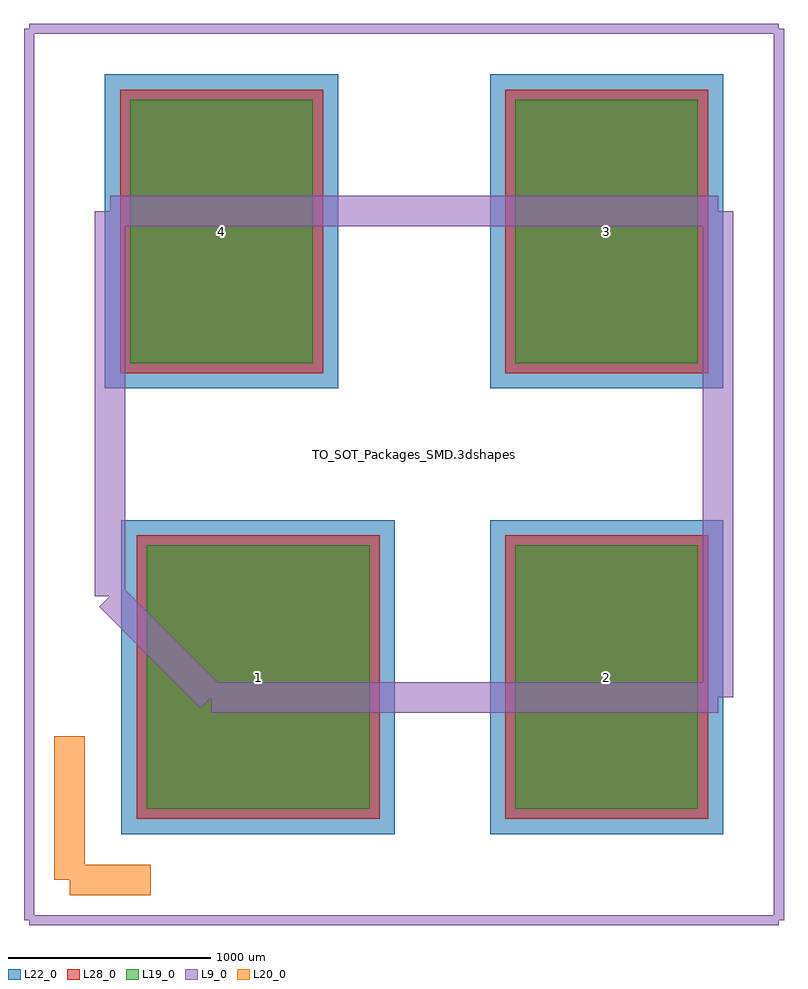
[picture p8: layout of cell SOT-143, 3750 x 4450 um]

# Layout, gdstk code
import gdstk
lib = gdstk.Library(unit=1e-6, precision=1e-09)
def R(c, l, rs):  # rectangles x0, y0, x1, y1
    for r in rs: c.add(gdstk.rectangle(r[:2], r[2:], *l))
L9_0 = (9, 0)
L19_0 = (19, 0)
L20_0 = (20, 0)
L22_0 = (22, 0)
L28_0 = (28, 0)

sot_143 = lib.new_cell('SOT-143')
R(sot_143, L19_0, [(-1319.06,-1749.59,-220.18,-450.05), (499.58,-1749.59,1400.34,-450.05), (-1400.34,450.05,-499.58,1749.59), (499.58,450.05,1400.34,1749.59)])
R(sot_143, L22_0, [(-1444.06,-1874.59,-95.18,-325.05), (374.58,-1874.59,1525.34,-325.05), (-1525.34,325.05,-374.58,1874.59), (374.58,325.05,1525.34,1874.59)])
R(sot_143, L28_0, [(-1369.06,-1799.59,-170.18,-400.05), (449.58,-1799.59,1450.34,-400.05), (-1450.34,400.05,-449.58,1799.59), (449.58,400.05,1450.34,1799.59)])
sot_143.add(gdstk.FlexPath([(-1700,-2100),(-1298.68,-2100)], 149.998, ends="flush", simple_path=True, layer=20, datatype=0))  # L20_0
sot_143.add(gdstk.FlexPath([(-1700,-1391.34),(-1700,-2100)], 149.998, ends="flush", simple_path=True, layer=20, datatype=0))  # L20_0
sot_143.add(gdstk.FlexPath([(-1900,-2300),(1800,-2300)], 50, ends="flush", simple_path=True, layer=9, datatype=0))  # L9_0
sot_143.add(gdstk.FlexPath([(1800,-2300),(1800,2100)], 50, ends="flush", simple_path=True, layer=9, datatype=0))  # L9_0
sot_143.add(gdstk.FlexPath([(1800,2100),(-1900,2100)], 50, ends="flush", simple_path=True, layer=9, datatype=0))  # L9_0
sot_143.add(gdstk.FlexPath([(-1900,2100),(-1900,-2300)], 50, ends="flush", simple_path=True, layer=9, datatype=0))  # L9_0
sot_143.add(gdstk.FlexPath([(-1500,1200),(1500,1200)], 149.998, ends="flush", simple_path=True, layer=9, datatype=0))  # L9_0
sot_143.add(gdstk.FlexPath([(1500,1200),(1500,-1200)], 149.998, ends="flush", simple_path=True, layer=9, datatype=0))  # L9_0
sot_143.add(gdstk.FlexPath([(1500,-1200),(-1000,-1200)], 149.998, ends="flush", simple_path=True, layer=9, datatype=0))  # L9_0
sot_143.add(gdstk.FlexPath([(-1500,-700),(-1500,1200)], 149.998, ends="flush", simple_path=True, layer=9, datatype=0))  # L9_0
sot_143.add(gdstk.FlexPath([(-1000,-1200),(-1500,-700)], 149.998, ends="flush", simple_path=True, layer=9, datatype=0))  # L9_0
sot_143.add(gdstk.Label('TO_SOT_Packages_SMD.3dshapes/SOT-143.wrl', (0,0), layer=12, texttype=0))
sot_143.add(gdstk.Label('4', (-949.96,1099.82), layer=28, texttype=0))
sot_143.add(gdstk.Label('3', (949.96,1099.82), layer=28, texttype=0))
sot_143.add(gdstk.Label('2', (949.96,-1099.82), layer=28, texttype=0))
sot_143.add(gdstk.Label('1', (-769.62,-1099.82), layer=28, texttype=0))
sot_143.add(gdstk.Label('type', (0,-3200), layer=9, texttype=0))
sot_143.add(gdstk.Label('devicename', (0,2800), layer=9, texttype=0))

lib.write_gds('SOT-143.gds')
